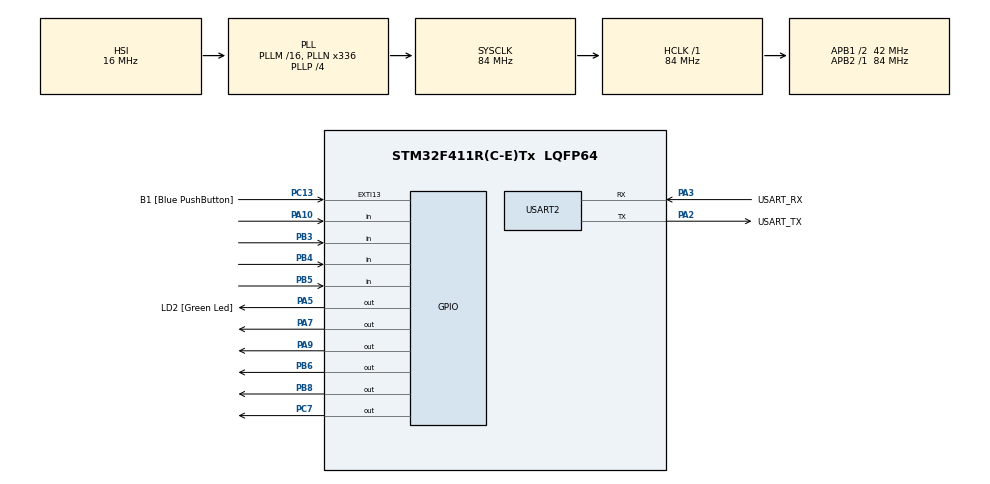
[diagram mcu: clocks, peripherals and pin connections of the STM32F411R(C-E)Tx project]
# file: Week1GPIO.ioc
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Mcu.Family=STM32F4
Mcu.Name=STM32F411R(C-E)Tx
Mcu.Package=LQFP64
NVIC.PriorityGroup=NVIC_PRIORITYGROUP_0
PA10.Signal=GPIO_Input
PA13.GPIO_Label=TMS
PA13.Mode=Serial_Wire
PA13.Signal=SYS_JTMS-SWDIO
PA14.GPIO_Label=TCK
PA14.Mode=Serial_Wire
PA14.Signal=SYS_JTCK-SWCLK
PA2.GPIO_Label=USART_TX
PA2.Mode=Asynchronous
PA2.Signal=USART2_TX
PA3.GPIO_Label=USART_RX
PA3.Mode=Asynchronous
PA3.Signal=USART2_RX
PA5.GPIO_Label=LD2 [Green Led]
PA5.Signal=GPIO_Output
PA7.Signal=GPIO_Output
PA9.Signal=GPIO_Output
PB3.Signal=GPIO_Input
PB4.Signal=GPIO_Input
PB5.Signal=GPIO_Input
PB6.Signal=GPIO_Output
PB8.Signal=GPIO_Output
PC13-ANTI_TAMP.GPIO_Label=B1 [Blue PushButton]
PC13-ANTI_TAMP.GPIO_ModeDefaultEXTI=GPIO_MODE_IT_FALLING
PC13-ANTI_TAMP.Signal=GPXTI13
PC14-OSC32_IN.Mode=LSE-External-Oscillator
PC14-OSC32_IN.Signal=RCC_OSC32_IN
PC15-OSC32_OUT.Mode=LSE-External-Oscillator
PC15-OSC32_OUT.Signal=RCC_OSC32_OUT
PC7.Signal=GPIO_Output
PH0\ -\ OSC_IN.Mode=HSE-External-Clock-Source
PH0\ -\ OSC_IN.Signal=RCC_OSC_IN
PH1\ -\ OSC_OUT.Mode=HSE-External-Clock-Source
PH1\ -\ OSC_OUT.Signal=RCC_OSC_OUT
ProjectManager.HeapSize=0x200
ProjectManager.StackSize=0x400
ProjectManager.TargetToolchain=STM32CubeIDE
RCC.48MHZClocksFreq_Value=84000000
RCC.AHBFreq_Value=84000000
RCC.APB1CLKDivider=RCC_HCLK_DIV2
RCC.APB1Freq_Value=42000000
RCC.APB1TimFreq_Value=84000000
RCC.APB2Freq_Value=84000000
RCC.APB2TimFreq_Value=84000000
RCC.CortexFreq_Value=84000000
RCC.FLatency-AdvancedSettings=FLASH_LATENCY_2
RCC.HCLKFreq_Value=84000000
RCC.HSE_VALUE=8000000
RCC.HSI_VALUE=16000000
RCC.PLLN=336
RCC.PLLP=RCC_PLLP_DIV4
RCC.SYSCLKFreq_VALUE=84000000
RCC.SYSCLKSource=RCC_SYSCLKSOURCE_PLLCLK
RCC.VCOOutputFreq_Value=336000000
USART2.VirtualMode=VM_ASYNC
board=NUCLEO-F411RE

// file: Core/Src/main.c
/* USER CODE BEGIN Header */
/**
 ******************************************************************************
 * @file           : main.c
 * @brief          : Main program body
 ******************************************************************************
 * @attention
 *
 * <h2><center>&copy; Copyright (c) 2021 STMicroelectronics.
 * All rights reserved.</center></h2>
 *
 * This software component is licensed by ST under BSD 3-Clause license,
 * the "License"; You may not use this file except in compliance with the
 * License. You may obtain a copy of the License at:
 *                        opensource.org/licenses/BSD-3-Clause
 *
 ******************************************************************************
 */
/* USER CODE END Header */
#include "main.h"

UART_HandleTypeDef huart2;

void SystemClock_Config(void);
static void MX_GPIO_Init(void);
static void MX_USART2_UART_Init(void);

int main(void)
{

  /* MCU Configuration--------------------------------------------------------*/

  /* Reset of all peripherals, Initializes the Flash interface and the Systick. */
  HAL_Init();

  /* Configure the system clock */
  SystemClock_Config();

  /* Initialize all configured peripherals */
  MX_GPIO_Init();
  MX_USART2_UART_Init();
  /* USER CODE BEGIN 2 */
	GPIO_PinState SwitchState1[2];	//NOW,LAST
	GPIO_PinState SwitchState2[2];	//NOW,LAST
	GPIO_PinState SwitchState3[2];	//NOW,LAST
	GPIO_PinState SwitchState4[2];	//NOW,LAST
	uint16_t LED1_HalfPreiod = 500;	//1Hz
	uint32_t TimeStamp = 0;
	uint32_t TimeStamp3 = 0;
	uint8_t Task2Check = 0;
	uint8_t Task3Check = 0;
	uint8_t Task4Check = 0;
	uint8_t LED4_PWM = 0;
	uint16_t LED3_HalfPreiod = 1500;
	uint32_t ButtonTimeStamp = 0;
  /* USER CODE END 2 */

  /* Infinite loop */
  /* USER CODE BEGIN WHILE */
	while (1) {
		HAL_GPIO_ReadPin(GPIOA, GPIO_PIN_10);
		HAL_GPIO_ReadPin(GPIOB, GPIO_PIN_3);
		HAL_GPIO_ReadPin(GPIOB, GPIO_PIN_5);
    /* USER CODE END WHILE */

    /* USER CODE BEGIN 3 */
		if (HAL_GetTick() - ButtonTimeStamp >= 100)	//mS
				{
			ButtonTimeStamp = HAL_GetTick();
			//switch press is LOW
			SwitchState1[0] = HAL_GPIO_ReadPin(GPIOA, GPIO_PIN_10);
			SwitchState2[0] = HAL_GPIO_ReadPin(GPIOB, GPIO_PIN_3);
			SwitchState3[0] = HAL_GPIO_ReadPin(GPIOB, GPIO_PIN_5);
			SwitchState4[0] = HAL_GPIO_ReadPin(GPIOB, GPIO_PIN_4);

			if (SwitchState1[1] == GPIO_PIN_SET
					&& SwitchState1[0] == GPIO_PIN_RESET) {
				//Change Half Period of LED1
				if (LED1_HalfPreiod == 1000) {
					LED1_HalfPreiod = 500;
				} else if (LED1_HalfPreiod == 500) {
					LED1_HalfPreiod = 250;
				} else if (LED1_HalfPreiod == 250) {
					LED1_HalfPreiod = 162;
				} else {
					LED1_HalfPreiod = 1000;
				}
			}
			if (SwitchState2[1] == GPIO_PIN_SET
					&& SwitchState2[0] == GPIO_PIN_RESET) {
				if (Task2Check == 0) {
					HAL_GPIO_WritePin(GPIOC, GPIO_PIN_7, GPIO_PIN_SET);
					Task2Check = 1;
				} else {
					HAL_GPIO_WritePin(GPIOC, GPIO_PIN_7, GPIO_PIN_RESET);
					Task2Check = 0;
				}
			}
			if (SwitchState3[1] == GPIO_PIN_SET
					&& SwitchState3[0] == GPIO_PIN_RESET) {
				if (Task3Check == 0) {
					Task3Check = 1;
					LED3_HalfPreiod = 500;
				} else {
					Task3Check = 0;
					LED3_HalfPreiod = 1500;
				}
			}
			if (SwitchState4[1] == GPIO_PIN_SET
					&& SwitchState4[0] == GPIO_PIN_RESET) {
				if (Task4Check == 0) {
					Task4Check = 1;
					LED4_PWM = 25;
				} else if (Task4Check == 1) {
					Task4Check = 2;
					LED4_PWM = 50;
				} else if (Task4Check == 2) {
					Task4Check = 3;
					LED4_PWM = 75;
				} else if (Task4Check == 3) {
					Task4Check = 4;
					LED4_PWM = 100;
				} else {
					Task4Check = 0;
					LED4_PWM = 0;
				}
			}
			SwitchState1[1] = SwitchState1[0];
			SwitchState2[1] = SwitchState2[0];
			SwitchState3[1] = SwitchState3[0];
			SwitchState4[1] = SwitchState4[0];

		}
		//Run LED
		if (HAL_GetTick() - TimeStamp >= LED1_HalfPreiod) {
			TimeStamp = HAL_GetTick();
			//Toggle LED1
			if (HAL_GPIO_ReadPin(GPIOA, GPIO_PIN_9) == GPIO_PIN_SET) {
				HAL_GPIO_WritePin(GPIOA, GPIO_PIN_9, GPIO_PIN_RESET);
			} else {
				HAL_GPIO_WritePin(GPIOA, GPIO_PIN_9, GPIO_PIN_SET);
			}
		}

		if (Task3Check == 0) {
			if (HAL_GetTick() - TimeStamp3 >= LED3_HalfPreiod) {
				TimeStamp3 = HAL_GetTick();
				if (HAL_GPIO_ReadPin(GPIOB, GPIO_PIN_6) == GPIO_PIN_SET) {
					HAL_GPIO_WritePin(GPIOB, GPIO_PIN_6, GPIO_PIN_RESET);
					LED3_HalfPreiod = 500;
				} else {
					HAL_GPIO_WritePin(GPIOB, GPIO_PIN_6, GPIO_PIN_SET);
					LED3_HalfPreiod = 1500;
				}
			}
		}
		if (Task3Check == 1) {
			if (HAL_GetTick() - TimeStamp3 >= LED3_HalfPreiod) {
				TimeStamp3 = HAL_GetTick();
				if (HAL_GPIO_ReadPin(GPIOB, GPIO_PIN_6) == GPIO_PIN_SET) {
					HAL_GPIO_WritePin(GPIOB, GPIO_PIN_6, GPIO_PIN_RESET);
					LED3_HalfPreiod = 1500;
				} else {
					HAL_GPIO_WritePin(GPIOB, GPIO_PIN_6, GPIO_PIN_SET);
					LED3_HalfPreiod = 500;
				}
			}
		}
		HAL_GPIO_WritePin(GPIOA, GPIO_PIN_7, 1);

	}

  /* USER CODE END 3 */
}

void SystemClock_Config(void)
{
  RCC_OscInitTypeDef RCC_OscInitStruct = {0};
  RCC_ClkInitTypeDef RCC_ClkInitStruct = {0};

  /** Configure the main internal regulator output voltage
  */
  __HAL_RCC_PWR_CLK_ENABLE();
  __HAL_PWR_VOLTAGESCALING_CONFIG(PWR_REGULATOR_VOLTAGE_SCALE1);
  /** Initializes the RCC Oscillators according to the specified parameters
  * in the RCC_OscInitTypeDef structure.
  */
  RCC_OscInitStruct.OscillatorType = RCC_OSCILLATORTYPE_HSI;
  RCC_OscInitStruct.HSIState = RCC_HSI_ON;
  RCC_OscInitStruct.HSICalibrationValue = RCC_HSICALIBRATION_DEFAULT;
  RCC_OscInitStruct.PLL.PLLState = RCC_PLL_ON;
  RCC_OscInitStruct.PLL.PLLSource = RCC_PLLSOURCE_HSI;
  RCC_OscInitStruct.PLL.PLLM = 16;
  RCC_OscInitStruct.PLL.PLLN = 336;
  RCC_OscInitStruct.PLL.PLLP = RCC_PLLP_DIV4;
  RCC_OscInitStruct.PLL.PLLQ = 4;
  if (HAL_RCC_OscConfig(&RCC_OscInitStruct) != HAL_OK)
  {
    Error_Handler();
  }
  /** Initializes the CPU, AHB and APB buses clocks
  */
  RCC_ClkInitStruct.ClockType = RCC_CLOCKTYPE_HCLK|RCC_CLOCKTYPE_SYSCLK
                              |RCC_CLOCKTYPE_PCLK1|RCC_CLOCKTYPE_PCLK2;
  RCC_ClkInitStruct.SYSCLKSource = RCC_SYSCLKSOURCE_PLLCLK;
  RCC_ClkInitStruct.AHBCLKDivider = RCC_SYSCLK_DIV1;
  RCC_ClkInitStruct.APB1CLKDivider = RCC_HCLK_DIV2;
  RCC_ClkInitStruct.APB2CLKDivider = RCC_HCLK_DIV1;

  if (HAL_RCC_ClockConfig(&RCC_ClkInitStruct, FLASH_LATENCY_2) != HAL_OK)
  {
    Error_Handler();
  }
}

static void MX_USART2_UART_Init(void)
{

  huart2.Instance = USART2;
  huart2.Init.BaudRate = 115200;
  huart2.Init.WordLength = UART_WORDLENGTH_8B;
  huart2.Init.StopBits = UART_STOPBITS_1;
  huart2.Init.Parity = UART_PARITY_NONE;
  huart2.Init.Mode = UART_MODE_TX_RX;
  huart2.Init.HwFlowCtl = UART_HWCONTROL_NONE;
  huart2.Init.OverSampling = UART_OVERSAMPLING_16;
  if (HAL_UART_Init(&huart2) != HAL_OK)
  {
    Error_Handler();
  }

}

static void MX_GPIO_Init(void)
{
  GPIO_InitTypeDef GPIO_InitStruct = {0};

  /* GPIO Ports Clock Enable */
  __HAL_RCC_GPIOC_CLK_ENABLE();
  __HAL_RCC_GPIOH_CLK_ENABLE();
  __HAL_RCC_GPIOA_CLK_ENABLE();
  __HAL_RCC_GPIOB_CLK_ENABLE();

  /*Configure GPIO pin Output Level */
  HAL_GPIO_WritePin(GPIOA, LD2_Pin|GPIO_PIN_7|GPIO_PIN_9, GPIO_PIN_RESET);

  /*Configure GPIO pin Output Level */
  HAL_GPIO_WritePin(GPIOC, GPIO_PIN_7, GPIO_PIN_RESET);

  /*Configure GPIO pin Output Level */
  HAL_GPIO_WritePin(GPIOB, GPIO_PIN_6|GPIO_PIN_8, GPIO_PIN_RESET);

  /*Configure GPIO pin : B1_Pin */
  GPIO_InitStruct.Pin = B1_Pin;
  GPIO_InitStruct.Mode = GPIO_MODE_IT_FALLING;
  GPIO_InitStruct.Pull = GPIO_NOPULL;
  HAL_GPIO_Init(B1_GPIO_Port, &GPIO_InitStruct);

  /*Configure GPIO pins : LD2_Pin PA7 PA9 */
  GPIO_InitStruct.Pin = LD2_Pin|GPIO_PIN_7|GPIO_PIN_9;
  GPIO_InitStruct.Mode = GPIO_MODE_OUTPUT_PP;
  GPIO_InitStruct.Pull = GPIO_NOPULL;
  GPIO_InitStruct.Speed = GPIO_SPEED_FREQ_LOW;
  HAL_GPIO_Init(GPIOA, &GPIO_InitStruct);

  /*Configure GPIO pin : PC7 */
  GPIO_InitStruct.Pin = GPIO_PIN_7;
  GPIO_InitStruct.Mode = GPIO_MODE_OUTPUT_PP;
  GPIO_InitStruct.Pull = GPIO_NOPULL;
  GPIO_InitStruct.Speed = GPIO_SPEED_FREQ_LOW;
  HAL_GPIO_Init(GPIOC, &GPIO_InitStruct);

  /*Configure GPIO pin : PA10 */
  GPIO_InitStruct.Pin = GPIO_PIN_10;
  GPIO_InitStruct.Mode = GPIO_MODE_INPUT;
  GPIO_InitStruct.Pull = GPIO_NOPULL;
  HAL_GPIO_Init(GPIOA, &GPIO_InitStruct);

  /*Configure GPIO pins : PB3 PB4 PB5 */
  GPIO_InitStruct.Pin = GPIO_PIN_3|GPIO_PIN_4|GPIO_PIN_5;
  GPIO_InitStruct.Mode = GPIO_MODE_INPUT;
  GPIO_InitStruct.Pull = GPIO_NOPULL;
  HAL_GPIO_Init(GPIOB, &GPIO_InitStruct);

  /*Configure GPIO pins : PB6 PB8 */
  GPIO_InitStruct.Pin = GPIO_PIN_6|GPIO_PIN_8;
  GPIO_InitStruct.Mode = GPIO_MODE_OUTPUT_PP;
  GPIO_InitStruct.Pull = GPIO_NOPULL;
  GPIO_InitStruct.Speed = GPIO_SPEED_FREQ_LOW;
  HAL_GPIO_Init(GPIOB, &GPIO_InitStruct);

}

void Error_Handler(void)
{
	__disable_irq();
	while (1) {
	}
}

/************************ (C) COPYRIGHT STMicroelectronics *****END OF FILE****/
